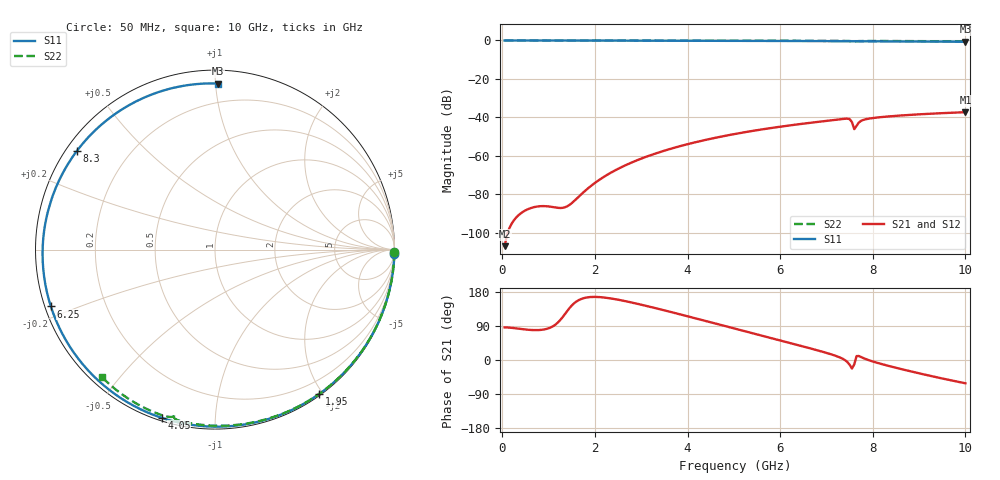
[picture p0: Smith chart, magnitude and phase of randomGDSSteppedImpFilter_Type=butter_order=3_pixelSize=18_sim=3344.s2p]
! freq	dB(S11)	phase(S11)	dB(S12)	phase(S12)
!  dB(S21)	phase(S21)	dB(S22)	phase(S22)
!S-par simulation data
#  GHz  S  DB  R 50
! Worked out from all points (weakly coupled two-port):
!   200 points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, 50 MHz to 10 GHz, reference 50 ohm
!   highest |S21| = -37.26 dB at 10 GHz (marker M1); lowest = -106.9 dB at 50 MHz (marker M2)
!   lowest |S11| = -0.7 dB at 10 GHz (marker M3), VSWR 25.83, Z = 3.93 + j50.7 ohm
!   |S11| at or under -10 dB: nowhere
!   |S22| runs from -0.5 to 0.0 dB; largest |S21 - S12| = 0
!   S11 on the Smith chart (normalised r, x): 50 MHz: 1, -82; 1.95 GHz: 0.02, -1.96; 4.05 GHz: 0.01, -0.73; 6.25 GHz: 0.02, -0.17; 8.3 GHz: 0.03, +0.32; 10 GHz: 0.08, +1.01
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0.05  -0.00 -1.4  -106.85 85.8  -106.85 85.8  -0.01 -0.8
0.85  -0.03 -24.0  -86.06 79.7  -86.06 79.7  -0.02 -12.8
1.7  -0.06 -47.4  -80.03 160.8  -80.03 160.8  -0.03 -25.5
1.75  -0.06 -48.7  -78.92 162.9  -78.92 162.9  -0.03 -26.2
1.95  -0.07 -54.1  -74.90 166.5  -74.90 166.5  -0.04 -29.1
2.25  -0.08 -62.1  -70.00 164.1  -70.00 164.1  -0.04 -33.5
2.6  -0.09 -71.2  -65.50 156.7  -65.50 156.7  -0.05 -38.6
3.4  -0.12 -91.6  -58.00 134.1  -58.00 134.1  -0.07 -49.9
4.05  -0.15 -107.6  -53.58 113.8  -53.58 113.8  -0.08 -58.9
5.05  -0.20 -131.8  -48.46 82.0  -48.46 82.0  -0.11 -72.3
6.25  -0.28 -160.9  -43.99 43.7  -43.99 43.7  -0.16 -87.6
6.7  -0.32 -172.1  -42.63 29.1  -42.63 29.1  -0.18 -93.2
7.45  -0.40 168.3  -40.62 -5.2  -40.62 -5.2  -0.26 -102.9
7.5  -0.40 166.9  -40.86 -12.6  -40.86 -12.6  -0.31 -103.7
7.55  -0.41 165.6  -42.38 -22.6  -42.38 -22.6  -0.42 -104.2
7.6  -0.42 164.2  -46.08 -11.6  -46.08 -11.6  -0.49 -103.8
7.7  -0.42 161.5  -42.60 10.5  -42.60 10.5  -0.33 -104.4
7.8  -0.43 158.7  -41.24 4.9  -41.24 4.9  -0.29 -105.8
8.3  -0.49 144.4  -39.54 -14.3  -39.54 -14.3  -0.29 -111.9
8.35  -0.49 142.9  -39.44 -15.9  -39.44 -15.9  -0.30 -112.5
9.25  -0.59 114.7  -38.05 -42.1  -38.05 -42.1  -0.37 -122.9
10  -0.67 89.0  -37.26 -61.4  -37.26 -61.4  -0.45 -131.4
